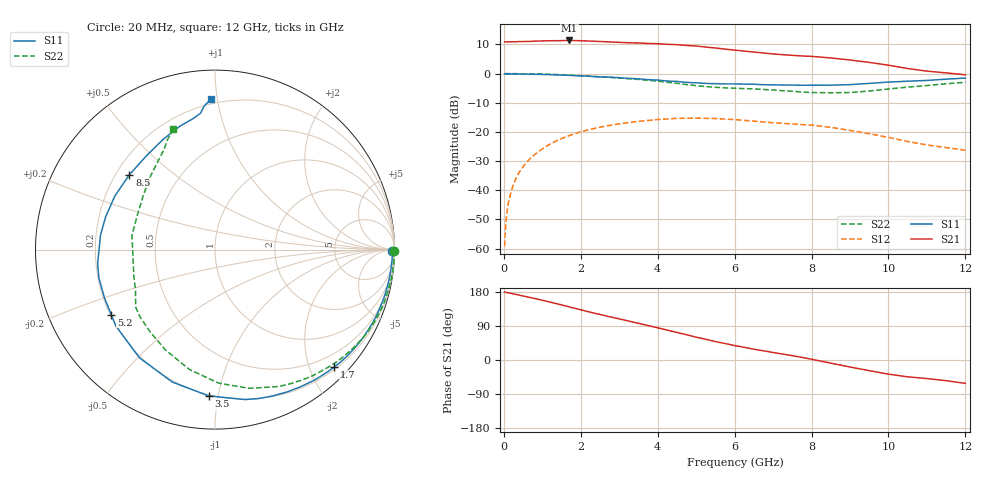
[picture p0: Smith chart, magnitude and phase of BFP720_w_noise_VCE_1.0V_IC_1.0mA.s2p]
! Infineon Technologies  Discrete & RF Semiconductors
! BFP720
! VCE =  1.0 V,  IC =  1.0 mA
! Common Emitter S-Parameters:  Aug 2012
# GHz  S  MA  R  50
!  f  S11  S21  S12  S22
! GHz  MAG  ANG  MAG  ANG  MAG  ANG  MAG  ANG
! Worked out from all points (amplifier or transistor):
!   104 points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, 20 MHz to 12 GHz, reference 50 ohm
!   highest |S21| = 11.4 dB at 1.7 GHz (marker M1)
!   |S21| within 3 dB of that: start of sweep to 5.777 GHz
!   unconditionally stable (mu >= 1): 8.887 GHz to end of sweep
!   at 350 MHz: K = 0.01, MSG = 23.0 dB, |S12| = -35.0 dB
!   at 3.7 GHz: K = 0.26, MSG = 13.3 dB, |S12| = -16.1 dB
!   at 12 GHz: K = 1.05, MAG = 11.6 dB, |S12| = -26.3 dB
!   lowest NFmin = 0.50 dB at 450 MHz
!   S11 on the Smith chart (normalised r, x): 20 MHz: open; 1.7 GHz: 0.24, -2.42; 3.5 GHz: 0.19, -0.94; 5.2 GHz: 0.20, -0.28; 8.5 GHz: 0.25, +0.35; 12 GHz: 0.17, +0.96
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0.02  0.9863 -0.4  3.499 179.3  0.0011 93.5  0.9997 -0.4
0.04  0.9878 -0.9  3.502 178.8  0.0021 88.3  0.9989 -0.8
0.07  0.9884 -1.7  3.501 178.3  0.0036 87.8  0.9986 -1.5
0.13  0.9882 -3.1  3.509 177.1  0.0066 88.0  0.9991 -2.7
0.25  0.9861 -6.0  3.524 174.4  0.0126 86.0  0.9991 -5.1
0.4  0.9841 -9.6  3.548 171.3  0.0203 82.7  0.996 -8.3
1.1  0.9637 -27.7  3.648 155.3  0.0565 68.7  0.9771 -23.4
1.7  0.9322 -44.5  3.701 140.1  0.0866 55.4  0.9407 -36.8
2.1  0.9065 -55.3  3.638 129.9  0.1045 46.3  0.9105 -45.7
2.8  0.8649 -73.6  3.485 113.1  0.1312 31.2  0.8568 -60.8
3.5  0.8157 -92.5  3.358 96.7  0.1521 16.6  0.7959 -76.2
4.1  0.7622 -111.1  3.224 82.5  0.1647 4.0  0.7288 -91.0
4.5  0.7353 -124.9  3.139 72.7  0.1713 -4.4  0.6829 -102.0
5.2  0.6823 -147.9  2.872 55.8  0.1712 -19.2  0.6037 -121.1
5.5  0.672 -156.4  2.751 48.5  0.17 -25.3  0.5826 -128.7
6.1  0.6637 -167.7  2.49 36.3  0.1608 -35.8  0.5582 -139.0
7  0.6429 172.7  2.176 19.7  0.1437 -48.7  0.523 -147.8
8  0.6329 151.9  1.974 2.1  0.1308 -61.8  0.4742 -162.6
8.5  0.6337 138.8  1.856 -8.3  0.1199 -69.7  0.4693 170.2
9.5  0.6796 115.0  1.557 -28.1  0.0931 -81.0  0.502 142.5
10.5  0.7408 99.3  1.222 -44.4  0.0685 -86.0  0.5867 122.7
12  0.8379 91.5  0.953 -61.7  0.0486 -81.4  0.7102 109.0
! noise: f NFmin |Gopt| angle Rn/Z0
0.45  0.5  0.77  6  0.47
1.8  0.64  0.73  31  0.38
2.4  0.76  0.64  82  0.29
5.5  1.17  0.53  99  0.14
10  1.87  0.55  -118  0.28
